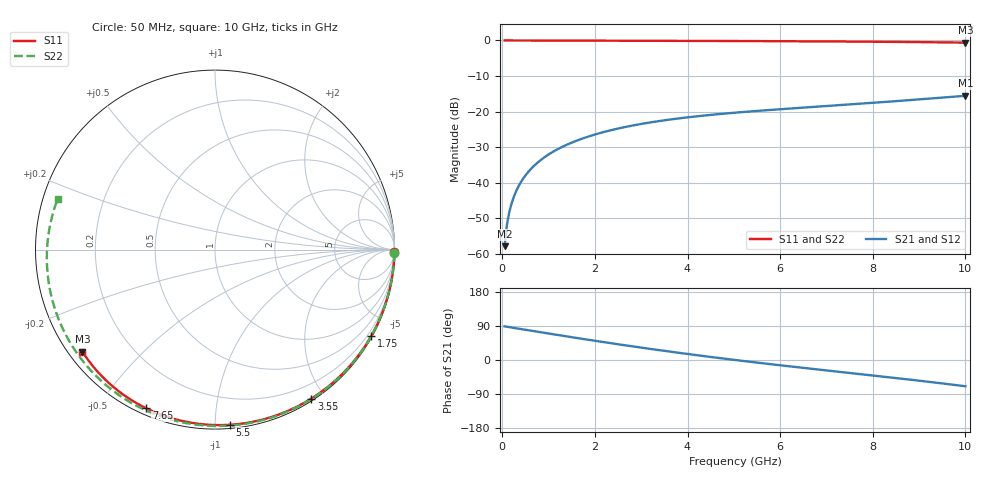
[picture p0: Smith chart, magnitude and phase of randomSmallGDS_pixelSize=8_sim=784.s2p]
! freq	dB(S11)	phase(S11)	dB(S12)	phase(S12)
!  dB(S21)	phase(S21)	dB(S22)	phase(S22)
!S-par simulation data
#  GHz  S  DB  R 50
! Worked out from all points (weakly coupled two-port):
!   200 points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, 50 MHz to 10 GHz, reference 50 ohm
!   highest |S21| = -15.56 dB at 10 GHz (marker M1); lowest = -57.8 dB at 50 MHz (marker M2)
!   lowest |S11| = -0.6 dB at 10 GHz (marker M3), VSWR 28.60, Z = 1.95 - j17 ohm
!   |S11| at or under -10 dB: nowhere
!   |S22| runs from -0.7 to 0.0 dB; largest |S21 - S12| = 0
!   S11 on the Smith chart (normalised r, x): 50 MHz: open; 1.75 GHz: 0.04, -3.88; 3.55 GHz: 0.03, -1.84; 5.5 GHz: 0.02, -1.09; 7.65 GHz: 0.03, -0.66; 10 GHz: 0.04, -0.34
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0.05  -0.00 -0.8  -57.85 88.9  -57.85 88.9  -0.00 -1.2
0.1  -0.00 -1.7  -51.84 87.7  -51.84 87.7  -0.00 -2.4
0.15  -0.00 -2.5  -48.33 86.7  -48.33 86.7  -0.00 -3.5
0.2  -0.00 -3.4  -45.85 85.7  -45.85 85.7  -0.01 -4.7
0.25  -0.01 -4.2  -43.92 84.7  -43.92 84.7  -0.01 -5.8
0.35  -0.01 -5.9  -41.02 82.7  -41.02 82.7  -0.01 -8.2
0.5  -0.01 -8.4  -37.96 79.7  -37.96 79.7  -0.01 -11.6
0.7  -0.02 -11.7  -35.08 75.8  -35.08 75.8  -0.02 -16.2
1  -0.02 -16.7  -32.06 69.9  -32.06 69.9  -0.03 -23.1
1.35  -0.03 -22.4  -29.58 63.1  -29.58 63.1  -0.04 -31.1
1.75  -0.04 -28.9  -27.49 55.4  -27.49 55.4  -0.06 -40.0
2.6  -0.07 -42.5  -24.48 39.7  -24.48 39.7  -0.09 -58.5
3.4  -0.09 -54.8  -22.64 25.8  -22.64 25.8  -0.12 -75.1
3.55  -0.10 -57.1  -22.36 23.3  -22.36 23.3  -0.13 -78.1
4.3  -0.13 -68.2  -21.19 11.1  -21.19 11.1  -0.16 -92.8
5.05  -0.16 -78.9  -20.28 -0.3  -20.28 -0.3  -0.20 -107.0
5.5  -0.18 -85.1  -19.82 -6.9  -19.82 -6.9  -0.22 -115.3
6.7  -0.25 -101.2  -18.71 -23.5  -18.71 -23.5  -0.31 -136.7
7.65  -0.32 -113.4  -17.87 -36.1  -17.87 -36.1  -0.40 -153.6
8.35  -0.39 -122.1  -17.21 -45.5  -17.21 -45.5  -0.48 -166.2
9.2  -0.49 -132.6  -16.37 -57.4  -16.37 -57.4  -0.59 178.0
10  -0.61 -142.4  -15.56 -69.3  -15.56 -69.3  -0.72 162.3
